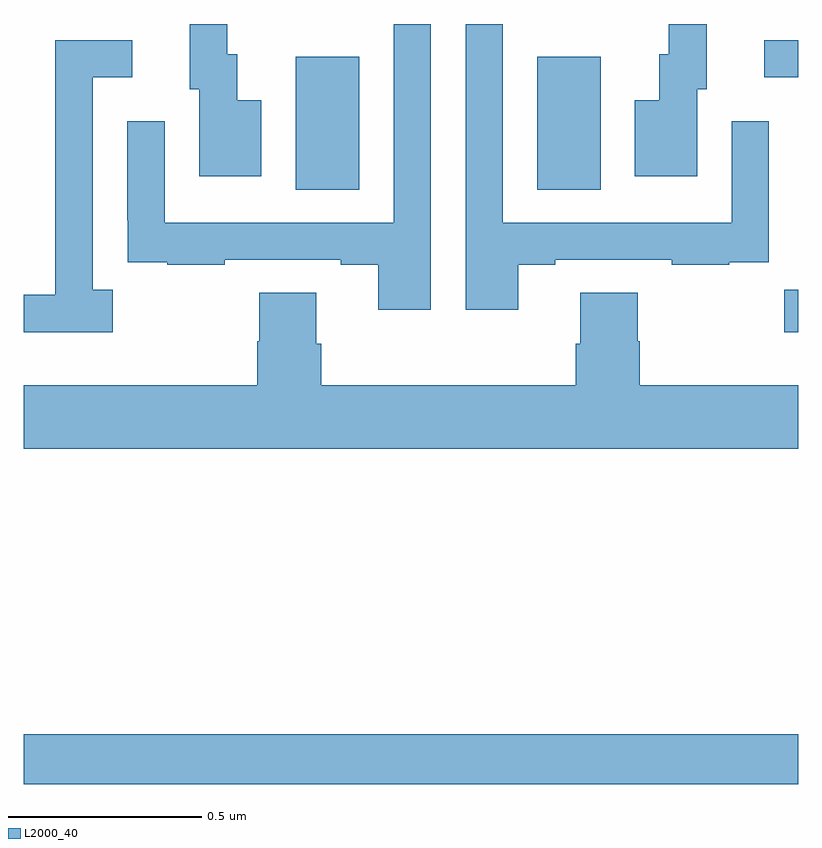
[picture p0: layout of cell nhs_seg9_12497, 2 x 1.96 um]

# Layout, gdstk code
import gdstk
lib = gdstk.Library(unit=1e-6, precision=1e-09)
def R(c, l, rs):  # rectangles x0, y0, x1, y1
    for r in rs: c.add(gdstk.rectangle(r[:2], r[2:], *l))
def P(c, l, *ps):  # polygons
    for p in ps: c.add(gdstk.Polygon(p, *l))
L2000_40 = (2000, 40)

nhs_seg9_12497 = lib.new_cell('nhs_seg9_12497')
R(nhs_seg9_12497, L2000_40, [(269,1211.538,271,1211.666), (270.963,1212.704,271,1212.814), (269.702,1213.072,269.866,1213.416), (270.326,1213.072,270.49,1213.416), (270.912,1213.362,271,1213.458)])
P(nhs_seg9_12497, L2000_40, [(269.614,1213.303),(269.551,1213.303),(269.551,1213.422),(269.526,1213.422),(269.526,1213.5),(269.429,1213.5),(269.429,1213.332),(269.453,1213.332),(269.453,1213.107),(269.614,1213.107)],
  [(270.051,1213.5),(269.955,1213.5),(269.955,1212.987),(269.364,1212.987),(269.364,1213.249),(269.268,1213.249),(269.268,1212.994),(269.269,1212.994),(269.269,1212.885),(269.371,1212.885),(269.371,1212.879),(269.519,1212.879),(269.519,1212.891),(269.819,1212.891),(269.819,1212.879),(269.915,1212.879),(269.915,1212.762),(270.051,1212.762)],
  [(270.739,1213.332),(270.763,1213.332),(270.763,1213.5),(270.666,1213.5),(270.666,1213.422),(270.641,1213.422),(270.641,1213.303),(270.578,1213.303),(270.578,1213.107),(270.739,1213.107)],
  [(270.277,1212.879),(270.373,1212.879),(270.373,1212.891),(270.673,1212.891),(270.673,1212.879),(270.821,1212.879),(270.821,1212.885),(270.923,1212.885),(270.923,1212.994),(270.924,1212.994),(270.924,1213.249),(270.828,1213.249),(270.828,1212.987),(270.237,1212.987),(270.237,1213.5),(270.141,1213.5),(270.141,1212.762),(270.277,1212.762)],
  [(269.23,1212.814),(269.178,1212.814),(269.178,1213.362),(269.281,1213.362),(269.281,1213.458),(269.082,1213.458),(269.082,1213.001),(269.081,1213.001),(269.081,1212.801),(269,1212.801),(269,1212.704),(269.23,1212.704)],
  [(271,1212.568),(270.59,1212.568),(270.59,1212.681),(270.585,1212.681),(270.585,1212.806),(270.437,1212.806),(270.437,1212.674),(270.425,1212.674),(270.425,1212.568),(269.768,1212.568),(269.768,1212.674),(269.755,1212.674),(269.755,1212.806),(269.608,1212.806),(269.608,1212.681),(269.603,1212.681),(269.603,1212.568),(269,1212.568),(269,1212.404),(271,1212.404)])

lib.write_gds('nhs_seg9_12497.gds')
